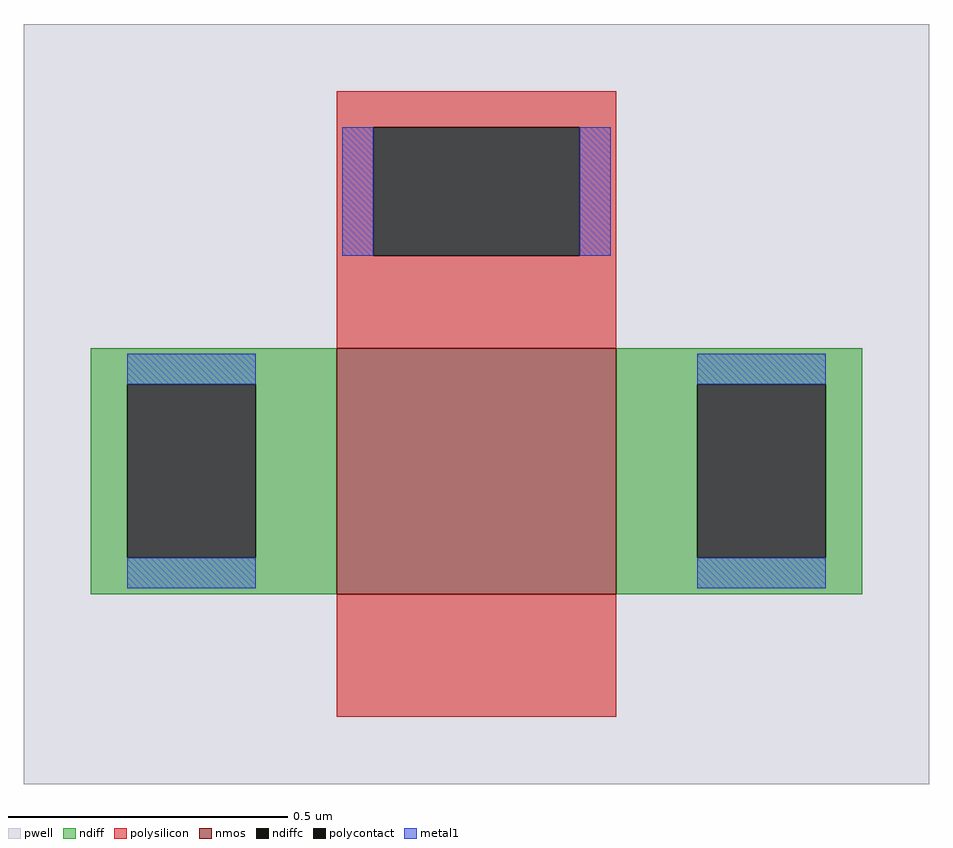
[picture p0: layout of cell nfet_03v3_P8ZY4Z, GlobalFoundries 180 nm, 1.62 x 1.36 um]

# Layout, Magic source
magic
tech gf180mcuD
magscale 1 10
<< pwell >>
rect -162 -136 162 136
<< nmos >>
rect -50 -68 50 20
<< ndiff >>
rect -138 7 -50 20
rect -138 -55 -125 7
rect -79 -55 -50 7
rect -138 -68 -50 -55
rect 50 7 138 20
rect 50 -55 79 7
rect 125 -55 138 7
rect 50 -68 138 -55
<< ndiffc >>
rect -125 -55 -79 7
rect 79 -55 125 7
<< polysilicon >>
rect -50 99 50 112
rect -50 53 -37 99
rect 37 53 50 99
rect -50 20 50 53
rect -50 -112 50 -68
<< polycontact >>
rect -37 53 37 99
<< metal1 >>
rect -48 53 -37 99
rect 37 53 48 99
rect -125 7 -79 18
rect -125 -66 -79 -55
rect 79 7 125 18
rect 79 -66 125 -55
<< properties >>
string gencell nfet_03v3
string library gf180mcu
string parameters w 0.44 l 0.5 m 1 nf 1 diffcov 100 polycov 100 guard 0 glc 1 grc 1 gtc 0 gbc 0 tbcov 100 rlcov 100 topc 1 botc 0 poverlap 0 doverlap 1 lmin 0.28 wmin 0.22 class mosfet full_metal 0 compatible {nfet_03v3 nfet_06v0 nfet_06v0_nvt}
<< end >>
